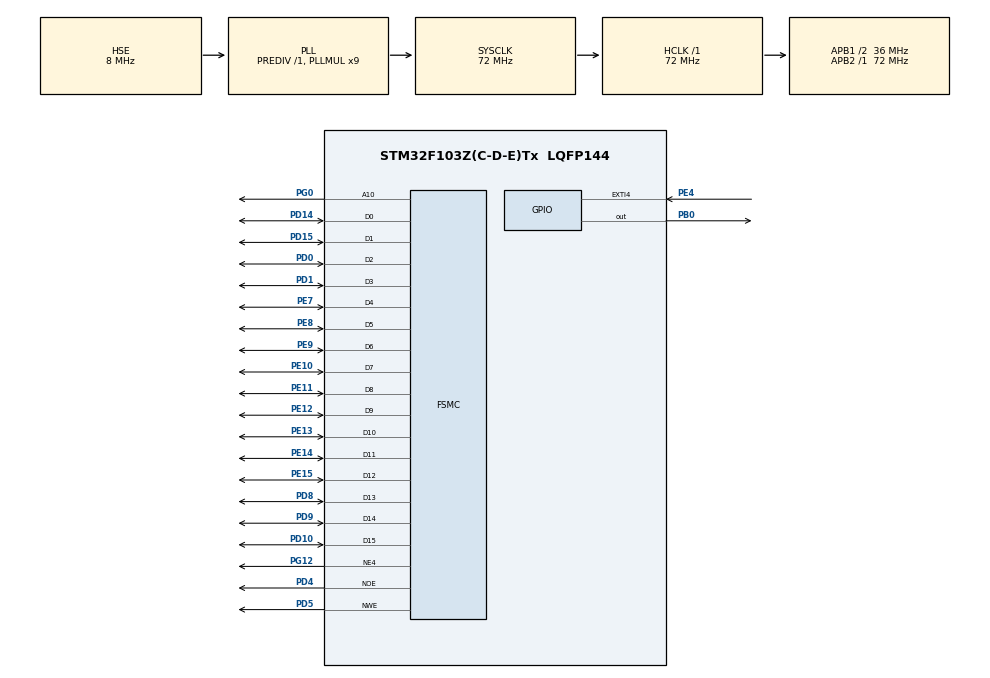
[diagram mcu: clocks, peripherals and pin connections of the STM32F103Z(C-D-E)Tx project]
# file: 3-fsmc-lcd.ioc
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FSMC.ExtendedMode1=FSMC_EXTENDED_MODE_ENABLE
Mcu.Family=STM32F1
Mcu.Name=STM32F103Z(C-D-E)Tx
Mcu.Package=LQFP144
NVIC.EXTI4_IRQn=true\:15\:0\:true\:false\:true\:true\:true\:true
NVIC.PriorityGroup=NVIC_PRIORITYGROUP_4
NVIC.TIM6_IRQn=true\:14\:0\:true\:false\:true\:true\:true\:true
OSC_IN.Mode=HSE-External-Oscillator
OSC_IN.Signal=RCC_OSC_IN
OSC_OUT.Mode=HSE-External-Oscillator
OSC_OUT.Signal=RCC_OSC_OUT
PB0.GPIO_PuPd=GPIO_NOPULL
PB0.PinState=GPIO_PIN_SET
PB0.Signal=GPIO_Output
PC14-OSC32_IN.Mode=LSE-External-Oscillator
PC14-OSC32_IN.Signal=RCC_OSC32_IN
PC15-OSC32_OUT.Mode=LSE-External-Oscillator
PC15-OSC32_OUT.Signal=RCC_OSC32_OUT
PD0.Signal=FSMC_D2_DA2
PD1.Signal=FSMC_D3_DA3
PD10.Signal=FSMC_D15_DA15
PD14.Signal=FSMC_D0_DA0
PD15.Signal=FSMC_D1_DA1
PD4.Signal=FSMC_NOE
PD5.Signal=FSMC_NWE
PD8.Signal=FSMC_D13_DA13
PD9.Signal=FSMC_D14_DA14
PE10.Signal=FSMC_D7_DA7
PE11.Signal=FSMC_D8_DA8
PE12.Signal=FSMC_D9_DA9
PE13.Signal=FSMC_D10_DA10
PE14.Signal=FSMC_D11_DA11
PE15.Signal=FSMC_D12_DA12
PE4.GPIO_ModeDefaultEXTI=GPIO_MODE_IT_FALLING
PE4.Signal=GPXTI4
PE7.Signal=FSMC_D4_DA4
PE8.Signal=FSMC_D5_DA5
PE9.Signal=FSMC_D6_DA6
PG0.Signal=FSMC_A10
PG12.Mode=NorPsramChipSelect4_1
PG12.Signal=FSMC_NE4
ProjectManager.HeapSize=0x200
ProjectManager.StackSize=0x400
ProjectManager.TargetToolchain=MDK-ARM V5.32
RCC.AHBFreq_Value=72000000
RCC.APB1CLKDivider=RCC_HCLK_DIV2
RCC.APB1Freq_Value=36000000
RCC.APB1TimFreq_Value=72000000
RCC.APB2Freq_Value=72000000
RCC.APB2TimFreq_Value=72000000
RCC.HCLKFreq_Value=72000000
RCC.PLLMUL=RCC_PLL_MUL9
RCC.PLLSourceVirtual=RCC_PLLSOURCE_HSE
RCC.SYSCLKFreq_VALUE=72000000
RCC.SYSCLKSource=RCC_SYSCLKSOURCE_PLLCLK
RCC.USBFreq_Value=72000000
SH.FSMC_A10.0=FSMC_A10,A10_1
SH.FSMC_D0_DA0.0=FSMC_D0,16b-d1
SH.FSMC_D10_DA10.0=FSMC_D10,16b-d1
SH.FSMC_D11_DA11.0=FSMC_D11,16b-d1
SH.FSMC_D12_DA12.0=FSMC_D12,16b-d1
SH.FSMC_D13_DA13.0=FSMC_D13,16b-d1
SH.FSMC_D14_DA14.0=FSMC_D14,16b-d1
SH.FSMC_D15_DA15.0=FSMC_D15,16b-d1
SH.FSMC_D1_DA1.0=FSMC_D1,16b-d1
SH.FSMC_D2_DA2.0=FSMC_D2,16b-d1
SH.FSMC_D3_DA3.0=FSMC_D3,16b-d1
SH.FSMC_D4_DA4.0=FSMC_D4,16b-d1
SH.FSMC_D5_DA5.0=FSMC_D5,16b-d1
SH.FSMC_D6_DA6.0=FSMC_D6,16b-d1
SH.FSMC_D7_DA7.0=FSMC_D7,16b-d1
SH.FSMC_D8_DA8.0=FSMC_D8,16b-d1
SH.FSMC_D9_DA9.0=FSMC_D9,16b-d1
SH.FSMC_NOE.0=FSMC_NOE,Lcd1
SH.FSMC_NWE.0=FSMC_NWE,Lcd1
TIM6.Period=3599
TIM6.Prescaler=199
VP_SYS_VS_ND.Mode=No_Debug
VP_TIM6_VS_ClockSourceINT.Mode=Enable_Timer
board=custom

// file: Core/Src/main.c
/* USER CODE BEGIN Header */
/**
  ******************************************************************************
  * @file           : main.c
  * @brief          : Main program body
  ******************************************************************************
  * @attention
  *
  * Copyright (c) 2023 STMicroelectronics.
  * All rights reserved.
  *
  * This software is licensed under terms that can be found in the LICENSE file
  * in the root directory of this software component.
  * If no LICENSE file comes with this software, it is provided AS-IS.
  *
  ******************************************************************************
  */
/* USER CODE END Header */
#include "main.h"
#include "tim.h"
#include "gpio.h"
#include "fsmc.h"

/* USER CODE BEGIN Includes */
#include "lcd.h"
/* USER CODE END Includes */

/* USER CODE BEGIN PV */
uint8_t flag=0XFF;
/* USER CODE END PV */

void SystemClock_Config(void);
/* USER CODE BEGIN PFP */
void HAL_GPIO_EXTI_Callback(uint16_t GPIO_Pin){
  if(GPIO_Pin==GPIO_PIN_4){
    HAL_TIM_Base_Start_IT(&htim6);
  }
}

void HAL_TIM_PeriodElapsedCallback(TIM_HandleTypeDef *htim){
  HAL_TIM_Base_Stop_IT(&htim6);
  if(HAL_GPIO_ReadPin(GPIOE,GPIO_PIN_4)==GPIO_PIN_RESET){
    if(flag){
      HAL_GPIO_WritePin(GPIOB,GPIO_PIN_0,GPIO_PIN_RESET);
      LCD_DisplayOff();
      flag = ~flag;
    }
    else if(!flag){
      LCD_DisplayOn();
      LCD_Drawimage();
      HAL_GPIO_WritePin(GPIOB,GPIO_PIN_0,GPIO_PIN_SET);
      flag = ~flag;
    }
  }
}
/* USER CODE END PFP */

int main(void)
{

  /* MCU Configuration--------------------------------------------------------*/

  /* Reset of all peripherals, Initializes the Flash interface and the Systick. */
  HAL_Init();

  /* Configure the system clock */
  SystemClock_Config();

  /* Initialize all configured peripherals */
  MX_GPIO_Init();
  MX_FSMC_Init();
  MX_TIM6_Init();
  /* USER CODE BEGIN 2 */
  LCD_Init();
  /* USER CODE END 2 */

  /* Infinite loop */
  /* USER CODE BEGIN WHILE */
  LCD_Drawimage();
  while (1)
  {
    /* USER CODE END WHILE */

  }
}

void SystemClock_Config(void)
{
  RCC_OscInitTypeDef RCC_OscInitStruct = {0};
  RCC_ClkInitTypeDef RCC_ClkInitStruct = {0};

  /** Initializes the RCC Oscillators according to the specified parameters
  * in the RCC_OscInitTypeDef structure.
  */
  RCC_OscInitStruct.OscillatorType = RCC_OSCILLATORTYPE_HSE;
  RCC_OscInitStruct.HSEState = RCC_HSE_ON;
  RCC_OscInitStruct.HSEPredivValue = RCC_HSE_PREDIV_DIV1;
  RCC_OscInitStruct.HSIState = RCC_HSI_ON;
  RCC_OscInitStruct.PLL.PLLState = RCC_PLL_ON;
  RCC_OscInitStruct.PLL.PLLSource = RCC_PLLSOURCE_HSE;
  RCC_OscInitStruct.PLL.PLLMUL = RCC_PLL_MUL9;
  if (HAL_RCC_OscConfig(&RCC_OscInitStruct) != HAL_OK)
  {
    Error_Handler();
  }

  /** Initializes the CPU, AHB and APB buses clocks
  */
  RCC_ClkInitStruct.ClockType = RCC_CLOCKTYPE_HCLK|RCC_CLOCKTYPE_SYSCLK
                              |RCC_CLOCKTYPE_PCLK1|RCC_CLOCKTYPE_PCLK2;
  RCC_ClkInitStruct.SYSCLKSource = RCC_SYSCLKSOURCE_PLLCLK;
  RCC_ClkInitStruct.AHBCLKDivider = RCC_SYSCLK_DIV1;
  RCC_ClkInitStruct.APB1CLKDivider = RCC_HCLK_DIV2;
  RCC_ClkInitStruct.APB2CLKDivider = RCC_HCLK_DIV1;

  if (HAL_RCC_ClockConfig(&RCC_ClkInitStruct, FLASH_LATENCY_2) != HAL_OK)
  {
    Error_Handler();
  }
}

void Error_Handler(void)
{
  __disable_irq();
  while (1)
  {
  }
}
